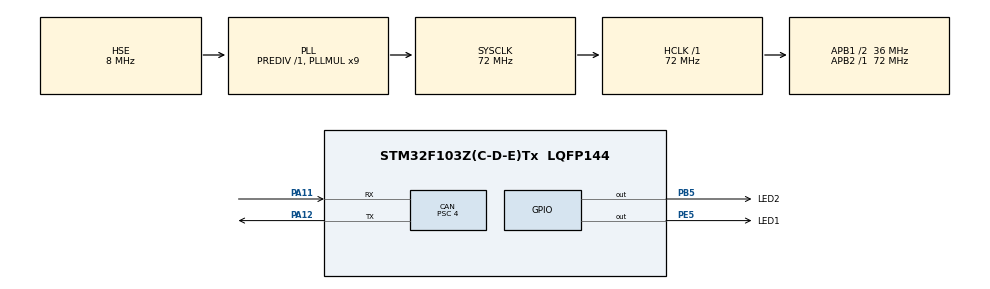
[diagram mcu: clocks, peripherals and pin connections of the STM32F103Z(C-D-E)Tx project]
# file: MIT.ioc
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CAN.BS1=CAN_BS1_3TQ
CAN.BS2=CAN_BS2_5TQ
CAN.CalculateBaudRate=1000000
CAN.CalculateTimeBit=1000
CAN.CalculateTimeQuantum=111.11111111111111
CAN.Prescaler=4
Mcu.Family=STM32F1
Mcu.Name=STM32F103Z(C-D-E)Tx
Mcu.Package=LQFP144
NVIC.PriorityGroup=NVIC_PRIORITYGROUP_4
OSC_IN.Mode=HSE-External-Oscillator
OSC_IN.Signal=RCC_OSC_IN
OSC_OUT.Mode=HSE-External-Oscillator
OSC_OUT.Signal=RCC_OSC_OUT
PA11.Mode=CAN_Activate
PA11.Signal=CAN_RX
PA12.Mode=CAN_Activate
PA12.Signal=CAN_TX
PA13.Mode=Serial_Wire
PA13.Signal=SYS_JTMS-SWDIO
PA14.Mode=Serial_Wire
PA14.Signal=SYS_JTCK-SWCLK
PB5.GPIO_Label=LED2
PB5.Signal=GPIO_Output
PE5.GPIO_Label=LED1
PE5.Signal=GPIO_Output
ProjectManager.HeapSize=0x200
ProjectManager.StackSize=0x400
ProjectManager.TargetToolchain=MDK-ARM V5.32
RCC.AHBFreq_Value=72000000
RCC.APB1CLKDivider=RCC_HCLK_DIV2
RCC.APB1Freq_Value=36000000
RCC.APB1TimFreq_Value=72000000
RCC.APB2Freq_Value=72000000
RCC.APB2TimFreq_Value=72000000
RCC.HCLKFreq_Value=72000000
RCC.PLLMUL=RCC_PLL_MUL9
RCC.PLLSourceVirtual=RCC_PLLSOURCE_HSE
RCC.SYSCLKFreq_VALUE=72000000
RCC.SYSCLKSource=RCC_SYSCLKSOURCE_PLLCLK
RCC.USBFreq_Value=72000000
board=custom

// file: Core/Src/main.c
/* USER CODE BEGIN Header */
/**
  ******************************************************************************
  * @file           : main.c
  * @brief          : Main program body
  ******************************************************************************
  * @attention
  *
  * Copyright (c) 2025 STMicroelectronics.
  * All rights reserved.
  *
  * This software is licensed under terms that can be found in the LICENSE file
  * in the root directory of this software component.
  * If no LICENSE file comes with this software, it is provided AS-IS.
  *
  ******************************************************************************
  */
/* USER CODE END Header */
#include "main.h"
#include "can.h"
#include "gpio.h"

/* USER CODE BEGIN Includes */
/*初始化*/

//电机参数
#define P_MIN   -12.5f     // 最小位置 (rad)
#define P_MAX   12.5f      // 最大位置 (rad)
#define V_MIN   -45.0f     // 最小速度 (rad/s)
#define V_MAX   45.0f      // 最大速度 (rad/s)
#define KP_MIN  0.0f       // 最小刚度系数
#define KP_MAX  500.0f     // 最大刚度系数
#define KD_MIN  0.0f       // 最小阻尼系数
#define KD_MAX  100.0f     // 最大阻尼系数
#define T_MIN   -18.0f     // 最小扭矩 (N·m)
#define T_MAX   18.0f      // 最大扭矩 (N·m)

/* 电机ID定义 */
#define MOTOR_ID 0x01      // 单个电机ID
#define FEEDBACK_ID (MOTOR_ID + 0x100) // MIT电机反馈ID = 电机ID + 0x100

/* 电机状态结构体 */
typedef struct {
    float position;      // 当前位置 (rad)
    float velocity;      // 当前速度 (rad/s)
    float torque;        // 当前扭矩 (N·m)
    uint32_t last_update; // 最后更新时间戳
    uint8_t enabled;     // 使能状态
} MotorState;

MotorState motor = {0};
uint32_t FlashTimer = 0;
uint32_t last_control_time = 0;

//使能代码
void Start_Motor(CAN_HandleTypeDef* hcan){
    CAN_TxHeaderTypeDef txHeader;
    uint8_t start_data[8] = {0xFF, 0xFF, 0xFF, 0xFF, 0xFF, 0xFF, 0xFF, 0xFC};
    uint32_t mailbox;

    txHeader.StdId = MOTOR_ID;
    txHeader.IDE = CAN_ID_STD;
    txHeader.RTR = CAN_RTR_DATA;
    txHeader.DLC = 8;

    HAL_CAN_AddTxMessage(hcan, &txHeader, start_data, &mailbox);
}

// 禁用电机
//void Stop_Motor(CAN_HandleTypeDef* hcan){
//    CAN_TxHeaderTypeDef txHeader;
//    uint8_t stop_data[8] = {0xFF, 0xFF, 0xFF, 0xFF, 0xFF, 0xFF, 0xFF, 0xFD};
//    uint32_t mailbox;

//    txHeader.StdId = MOTOR_ID;
//    txHeader.IDE = CAN_ID_STD;
//    txHeader.RTR = CAN_RTR_DATA;
//    txHeader.DLC = 8;
//
//    HAL_CAN_AddTxMessage(hcan, &txHeader, stop_data, &mailbox);
//}

/* USER CODE END Includes */

/* USER CODE BEGIN PV */
CAN_FilterTypeDef canFilter;
CAN_RxHeaderTypeDef rxHeader;
uint8_t rxData[8];
/* USER CODE END PV */

void SystemClock_Config(void);
/* USER CODE BEGIN PFP */

// 函数声明
void enable_motor(CAN_HandleTypeDef* hcan);
void disable_motor(CAN_HandleTypeDef* hcan);
void ctrl_motor(CAN_HandleTypeDef* hcan, uint16_t id, float pos, float vel, float KP, float KD, float torq);
int float_to_uint(float x, float x_min, float x_max, int bits);
float uint_to_float(int x_int, float x_min, float x_max, int bits);
/* USER CODE END PFP */

/* USER CODE BEGIN 0 */

float uint_to_float(int x_int, float x_min, float x_max, int bits){
    float span = x_max - x_min;
    return (x_int * span) / ((1 << bits) - 1) + x_min;
}

int float_to_uint(float x, float x_min, float x_max, int bits) {
    float span = x_max - x_min;
    float offset = x_min;
    return (int)((x - offset) * ((1 << bits) - 1) / span);
}

//控制模式发送函数
void ctrl_motor(CAN_HandleTypeDef* hcan, uint16_t id, float _pos, float _vel, float _KP, float _KD, float _torq) {
    CAN_TxHeaderTypeDef txHeader;
    uint8_t data[8];
    uint32_t mailbox;

    uint16_t pos_tmp = float_to_uint(_pos, P_MIN, P_MAX, 16);
    uint16_t vel_tmp = float_to_uint(_vel, V_MIN, V_MAX, 12);
    uint16_t kp_tmp = float_to_uint(_KP, KP_MIN, KP_MAX, 12);
    uint16_t kd_tmp = float_to_uint(_KD, KD_MIN, KD_MAX, 12);
    uint16_t tor_tmp = float_to_uint(_torq, T_MIN, T_MAX, 12);

    txHeader.StdId = id;
    txHeader.IDE = CAN_ID_STD;
    txHeader.RTR = CAN_RTR_DATA;
    txHeader.DLC = 8;

    data[0] = (pos_tmp >> 8) & 0xFF;
    data[1] = pos_tmp & 0xFF;
    data[2] = (vel_tmp >> 4) & 0xFF;
    data[3] = ((vel_tmp & 0xF) << 4) | ((kp_tmp >> 8) & 0x0F);
    data[4] = kp_tmp & 0xFF;
    data[5] = (kd_tmp >> 4) & 0xFF;
    data[6] = ((kd_tmp & 0x0F) << 4) | ((tor_tmp >> 8) & 0x0F);
    data[7] = tor_tmp & 0xFF;

    HAL_CAN_AddTxMessage(hcan, &txHeader, data, &mailbox);
}

//接收分析函数
void HAL_CAN_RxFifo0MsgPendingCallback(CAN_HandleTypeDef* hcan) {
    uint16_t p_int, v_int, t_int;

    if (HAL_CAN_GetRxMessage(hcan, CAN_RX_FIFO0, &rxHeader, rxData) == HAL_OK) {
        // 闪烁LED指示接收
        if (HAL_GetTick() - FlashTimer > 500) {
            HAL_GPIO_TogglePin(LED1_GPIO_Port, LED1_Pin);
            FlashTimer = HAL_GetTick();
        }

        // 只处理电机反馈ID
        if (rxHeader.StdId == FEEDBACK_ID) {
            // 正确解析MIT电机反馈数据
            p_int = (rxData[0] << 8) | rxData[1];
            v_int = (rxData[2] << 4) | (rxData[3] >> 4);
            t_int = (rxData[4] << 4) | (rxData[5] >> 4);

            motor.position = uint_to_float(p_int, P_MIN, P_MAX, 16);
            motor.velocity = uint_to_float(v_int, V_MIN, V_MAX, 12);
            motor.torque = uint_to_float(t_int, T_MIN, T_MAX, 12);
            motor.last_update = HAL_GetTick();

            // 收到反馈表示电机已使能
            motor.enabled = 1;
        }
    }
}
/* USER CODE END 0 */

int main(void)
{

  /* MCU Configuration--------------------------------------------------------*/

  /* Reset of all peripherals, Initializes the Flash interface and the Systick. */
  HAL_Init();

  /* Configure the system clock */
  SystemClock_Config();

  /* Initialize all configured peripherals */
  MX_GPIO_Init();
  MX_CAN_Init();
  /* USER CODE BEGIN 2 */

  // 正确配置CAN过滤器 - 只接收反馈ID
  canFilter.FilterBank = 0;
  canFilter.FilterMode = CAN_FILTERMODE_IDLIST;
  canFilter.FilterScale = CAN_FILTERSCALE_32BIT;
  canFilter.FilterIdHigh = (FEEDBACK_ID << 5) & 0xFFFF; // 标准ID高16位
  canFilter.FilterIdLow = 0;
  canFilter.FilterMaskIdHigh = 0;
  canFilter.FilterMaskIdLow = 0;
  canFilter.FilterFIFOAssignment = CAN_RX_FIFO0;
  canFilter.FilterActivation = ENABLE;
  canFilter.SlaveStartFilterBank = 14;

  HAL_CAN_ConfigFilter(&hcan, &canFilter);

  // 启动CAN并启用接收中断
  HAL_CAN_Start(&hcan);
  HAL_CAN_ActivateNotification(&hcan, CAN_IT_RX_FIFO0_MSG_PENDING);

  // 使能电机
  Start_Motor(&hcan);
  motor.enabled = 0; // 初始状态为未使能，等待反馈确认

  /* USER CODE END 2 */

  /* Infinite loop */
  /* USER CODE BEGIN WHILE */
  while (1) {
    // 如果电机未使能，定期重发使能命令
//    if (!motor.enabled && (HAL_GetTick() % 1000 == 0)) {
//        Start_Motor(&hcan);
//    }

    // 控制周期为1ms
//     if (motor.enabled && (HAL_GetTick() - last_control_time >= 1)) {
//        last_control_time = HAL_GetTick();

        float target_pos = 0.0f;  // 目标位置1弧度
        float target_vel = 10.0f;  // 目标速度0 rad/s
        float KP = 0.0f;         // 比例增益
        float KD = 1.0f;          // 微分增益

        // 计算误差
        float pos_error = target_pos - motor.position;
        float vel_error = target_vel - motor.velocity;

        // 计算输出力矩 (PD控制器)
        float torque = KP * pos_error + KD * vel_error;

        // 发送控制命令 (限制在±18Nm)
        if (torque > T_MAX) torque = T_MAX;
        if (torque < T_MIN) torque = T_MIN;

        ctrl_motor(&hcan, MOTOR_ID,
                   target_pos=0.0f, target_vel=10.0f,
                   KP=0.0f, KD=1.0f, torque);
  //  }

    // 添加延时防止过度发送
    HAL_Delay(1);
    /* USER CODE END WHILE */

  }
}

void SystemClock_Config(void)
{
  RCC_OscInitTypeDef RCC_OscInitStruct = {0};
  RCC_ClkInitTypeDef RCC_ClkInitStruct = {0};

  /** Initializes the RCC Oscillators according to the specified parameters
  * in the RCC_OscInitTypeDef structure.
  */
  RCC_OscInitStruct.OscillatorType = RCC_OSCILLATORTYPE_HSE;
  RCC_OscInitStruct.HSEState = RCC_HSE_ON;
  RCC_OscInitStruct.HSEPredivValue = RCC_HSE_PREDIV_DIV1;
  RCC_OscInitStruct.HSIState = RCC_HSI_ON;
  RCC_OscInitStruct.PLL.PLLState = RCC_PLL_ON;
  RCC_OscInitStruct.PLL.PLLSource = RCC_PLLSOURCE_HSE;
  RCC_OscInitStruct.PLL.PLLMUL = RCC_PLL_MUL9;
  if (HAL_RCC_OscConfig(&RCC_OscInitStruct) != HAL_OK)
  {
    Error_Handler();
  }

  /** Initializes the CPU, AHB and APB buses clocks
  */
  RCC_ClkInitStruct.ClockType = RCC_CLOCKTYPE_HCLK|RCC_CLOCKTYPE_SYSCLK
                              |RCC_CLOCKTYPE_PCLK1|RCC_CLOCKTYPE_PCLK2;
  RCC_ClkInitStruct.SYSCLKSource = RCC_SYSCLKSOURCE_PLLCLK;
  RCC_ClkInitStruct.AHBCLKDivider = RCC_SYSCLK_DIV1;
  RCC_ClkInitStruct.APB1CLKDivider = RCC_HCLK_DIV2;
  RCC_ClkInitStruct.APB2CLKDivider = RCC_HCLK_DIV1;

  if (HAL_RCC_ClockConfig(&RCC_ClkInitStruct, FLASH_LATENCY_2) != HAL_OK)
  {
    Error_Handler();
  }
}

void Error_Handler(void)
{
  __disable_irq();
  while (1)
  {
  }
}
